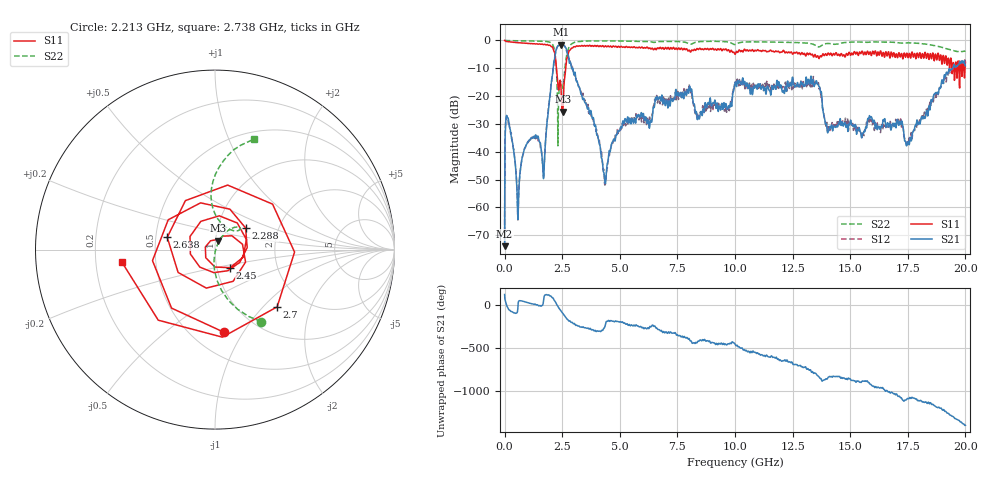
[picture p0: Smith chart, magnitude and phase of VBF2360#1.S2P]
!Agilent Technologies,E5071C,MY46215201,A.10.06
!Date: Mon Nov 18 15:28:43 2019
!Data & Calibration Information:
!Freq	S11:SOLT2(ON)	S21:SOLT2(ON)	S12:SOLT2(ON)	S22:SOLT2(ON)
!PortZ  Port1:50+j0  Port2:50+j0
!Above PortZ is port z conversion or system Z0 setting when saving the data.
!When reading, reference impedance value at option line is always used.
# Hz S dB R 50
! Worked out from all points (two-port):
!   1601 points, 300 kHz to 20 GHz, reference 50 ohm
!   highest |S21| = -1.53 dB at 2.463 GHz (marker M1); lowest = -74.0 dB at 300 kHz (marker M2)
!   |S21| within 3 dB of the highest: 2.206 GHz to 2.716 GHz (509.8 MHz wide, 20.7 % of centre)
!   lowest |S11| = -25.7 dB at 2.525 GHz (marker M3), VSWR 1.11, Z = 51.5 + j5.09 ohm
!   |S11| at or under -10 dB: 2.248 GHz to 2.65 GHz (401.4 MHz wide, 16.4 % of centre); 19.50194 GHz to 19.55387 GHz (51.93 MHz wide, 0.266 % of centre); 19.71771 GHz to 19.77289 GHz (55.18 MHz wide, 0.279 % of centre)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
!   |S22| runs from -37.9 to 0.0 dB; largest |S21 - S12| = 0.099
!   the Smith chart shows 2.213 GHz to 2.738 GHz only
!   S11 on the Smith chart (normalised r, x): 2.213 GHz: 0.70, -0.83; 2.288 GHz: 1.36, +0.34; 2.45 GHz: 1.16, -0.24; 2.638 GHz: 0.58, +0.09; 2.7 GHz: 1.47, -1.21; 2.738 GHz: 0.31, -0.06
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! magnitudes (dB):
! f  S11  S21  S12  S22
! 300 kHz  0.0  -74.0  -69.3  0.0
! 137.8 MHz  -0.4  -27.8  -27.8  0.0
! 575.3 MHz  -0.8  -64.4  -64.5  -0.1
! 1.125 GHz  -1.1  -35.3  -35.7  -0.2
! 1.675 GHz  -1.5  -48.5  -47.9  -0.3
! 2.213 GHz  -6.7  -4.1  -4.3  -6.4
! 2.288 GHz  -13.6  -2.3  -2.3  -19.0
! 2.45 GHz  -17.7  -1.5  -1.7  -14.9
! 2.463 GHz  -20.3  -1.5  -1.6  -15.2
! 2.525 GHz  -25.7  -1.6  -1.6  -17.2
! 2.638 GHz  -11.2  -2.5  -2.4  -8.4
! 2.7 GHz  -6.5  -3.8  -4.1  -5.0
! 2.738 GHz  -5.6  -5.1  -4.5  -3.7
! 3.338 GHz  -1.8  -19.5  -19.0  -0.3
! 4.363 GHz  -1.9  -51.2  -51.9  -0.2
! 6.675 GHz  -2.9  -21.2  -21.1  -0.4
! 10 GHz  -5.0  -15.3  -15.0  -1.5
! 13.34 GHz  -5.0  -15.6  -16.7  -1.2
! 14.06 GHz  -4.7  -32.4  -31.5  -1.1
! 16.68 GHz  -4.2  -31.1  -30.9  -0.6
! 17.5 GHz  -5.9  -36.7  -36.6  -0.8
! 20 GHz  -7.8  -9.1  -8.0  -3.8
